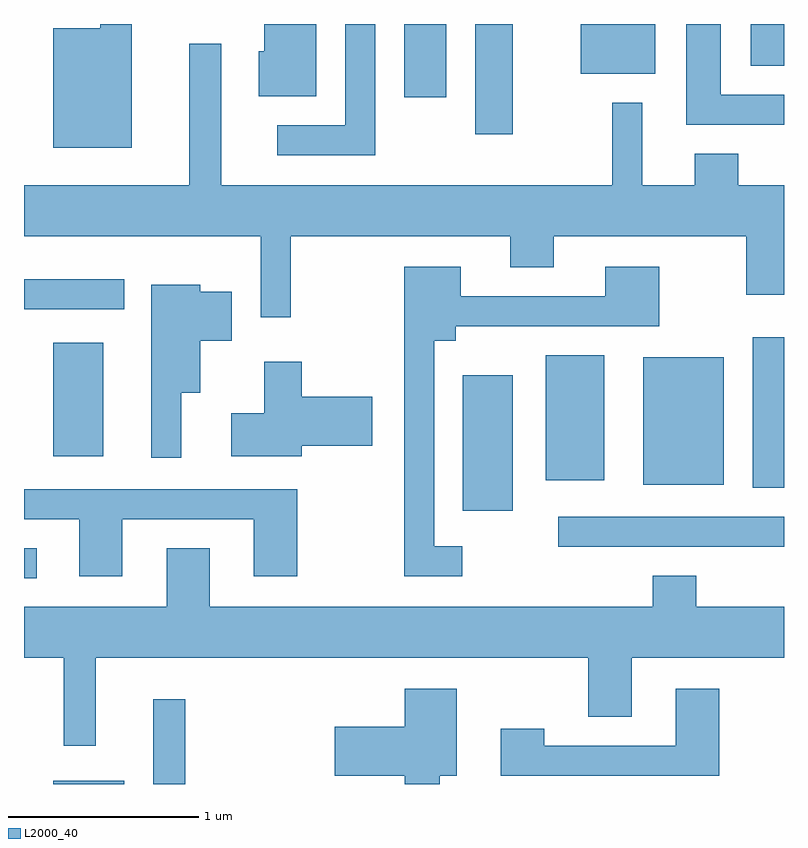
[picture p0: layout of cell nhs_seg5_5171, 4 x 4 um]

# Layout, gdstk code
import gdstk
lib = gdstk.Library(unit=1e-6, precision=1e-09)
def R(c, l, rs):  # rectangles x0, y0, x1, y1
    for r in rs: c.add(gdstk.rectangle(r[:2], r[2:], *l))
def P(c, l, *ps):  # polygons
    for p in ps: c.add(gdstk.Polygon(p, *l))
L2000_40 = (2000, 40)

nhs_seg5_5171 = lib.new_cell('nhs_seg5_5171')
R(nhs_seg5_5171, L2000_40, [(337.766,1516.072,338.139,1516.089), (338.291,1516.072,338.459,1516.518), (337.611,1517.156,337.678,1517.314), (340.423,1517.321,341.611,1517.479), (339.921,1517.511,340.184,1518.224), (341.446,1517.631,341.611,1518.424), (340.871,1517.646,341.294,1518.319), (340.356,1517.671,340.664,1518.329), (337.766,1517.796,338.029,1518.394), (337.611,1518.571,338.138,1518.729), (339.986,1519.491,340.184,1520.072), (339.611,1519.686,339.834,1520.072), (340.541,1519.811,340.934,1520.072), (341.436,1519.851,341.611,1520.072)])
P(nhs_seg5_5171, L2000_40, [(339.149,1520.072),(338.876,1520.072),(338.876,1519.929),(338.846,1519.929),(338.846,1519.691),(339.149,1519.691)],
  [(338.179,1520.072),(338.011,1520.072),(338.011,1520.049),(337.766,1520.049),(337.766,1519.421),(338.179,1519.421)],
  [(339.459,1520.072),(339.301,1520.072),(339.301,1519.539),(338.943,1519.539),(338.943,1519.381),(339.459,1519.381)],
  [(341.611,1519.699),(341.279,1519.699),(341.279,1520.072),(341.096,1520.072),(341.096,1519.541),(341.611,1519.541)],
  [(339.014,1518.956),(340.171,1518.956),(340.171,1518.791),(340.399,1518.791),(340.399,1518.956),(341.411,1518.956),(341.411,1518.646),(341.611,1518.646),(341.611,1519.224),(341.369,1519.224),(341.369,1519.389),(341.141,1519.389),(341.141,1519.224),(340.864,1519.224),(340.864,1519.658),(340.706,1519.658),(340.706,1519.224),(338.649,1519.224),(338.649,1519.968),(338.481,1519.968),(338.481,1519.224),(337.611,1519.224),(337.611,1518.956),(338.856,1518.956),(338.856,1518.528),(339.014,1518.528)],
  [(339.918,1517.324),(339.769,1517.324),(339.769,1518.406),(339.884,1518.406),(339.884,1518.481),(340.954,1518.481),(340.954,1518.794),(340.671,1518.794),(340.671,1518.639),(339.909,1518.639),(339.909,1518.794),(339.611,1518.794),(339.611,1517.166),(339.918,1517.166)],
  [(338.439,1518.131),(338.539,1518.131),(338.539,1518.406),(338.704,1518.406),(338.704,1518.664),(338.539,1518.664),(338.539,1518.699),(338.281,1518.699),(338.281,1517.788),(338.439,1517.788)],
  [(339.074,1517.851),(339.444,1517.851),(339.444,1518.109),(339.074,1518.109),(339.074,1518.294),(338.876,1518.294),(338.876,1518.024),(338.701,1518.024),(338.701,1517.796),(339.074,1517.796)],
  [(338.129,1517.466),(338.821,1517.466),(338.821,1517.166),(339.049,1517.166),(339.049,1517.624),(337.611,1517.624),(337.611,1517.466),(337.901,1517.466),(337.901,1517.166),(338.129,1517.166)],
  [(337.989,1516.736),(340.581,1516.736),(340.581,1516.426),(340.809,1516.426),(340.809,1516.736),(341.611,1516.736),(341.611,1517.004),(341.149,1517.004),(341.149,1517.169),(340.921,1517.169),(340.921,1517.004),(338.589,1517.004),(338.589,1517.314),(338.361,1517.314),(338.361,1517.004),(337.611,1517.004),(337.611,1516.736),(337.821,1516.736),(337.821,1516.273),(337.989,1516.273)],
  [(339.799,1516.116),(339.889,1516.116),(339.889,1516.574),(339.616,1516.574),(339.616,1516.374),(339.246,1516.374),(339.246,1516.116),(339.616,1516.116),(339.616,1516.072),(339.799,1516.072)],
  [(341.269,1516.574),(341.041,1516.574),(341.041,1516.274),(340.349,1516.274),(340.349,1516.364),(340.121,1516.364),(340.121,1516.116),(341.269,1516.116)])

lib.write_gds('nhs_seg5_5171.gds')
